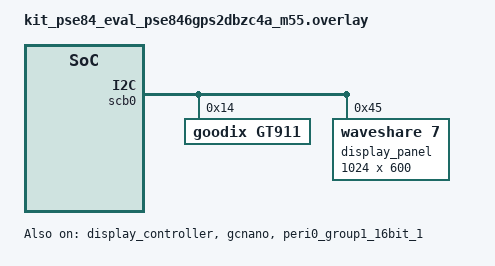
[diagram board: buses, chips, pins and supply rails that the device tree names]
/*
 * Copyright (c) 2026 Infineon Technologies AG,
 * or an affiliate of Infineon Technologies AG.
 *
 * SPDX-License-Identifier: Apache-2.0
 */

#include <zephyr/dt-bindings/display/panel.h>

/ {
	chosen {
		zephyr,touch = &gt911;
		zephyr,display = &display_controller;
	};

	lvgl_pointer {
		compatible = "zephyr,lvgl-pointer-input";
		input = <&gt911>;
	};

	lvgl_vglite {
		compatible = "zephyr,lvgl-gpu-vglite";
		gpu = <&gcnano>;
		variant = "gcnanoultrav";
		revision = "0x1003";
	};
};

&display_controller {
	status = "okay";

	width = <1024>;
	height = <600>;

	pixel-clock-khz = <41743>;
	hsync-width = <100>;
	hfp = <125>;
	hbp = <20>;
	vsync-width = <5>;
	vfp = <20>;
	vbp = <20>;

	data-lanes = <2>;
	per-lane-mbps = <500>;

	input-pixel-format = <PANEL_PIXEL_FORMAT_RGB_565>;
	panel = <&display_panel>;
};

&gcnano {
	status = "okay";
};

i2c0: &scb0 {
	compatible = "infineon,i2c";
	#address-cells = <1>;
	#size-cells = <0>;
	status = "okay";

	clocks = <&peri0_group1_16bit_1>;

	pinctrl-0 = <&p8_0_scb0_i2c_scl &p8_1_scb0_i2c_sda>;
	pinctrl-names = "default";

	gt911: gt911@14 {
		compatible = "goodix,gt911";
		reg = <0x14>;
	};

	display_panel: waveshare_panel@45 {
		compatible = "waveshare,7";
		reg = <0x45>;
		pixel-format = <PANEL_PIXEL_FORMAT_RGB_888>;
		status = "okay";
		height = <600>;
		width = <1024>;
	};
};

&peri0_group1_16bit_1 {
	status = "okay";
	clock-div = <62>;
};

&p8_0_scb0_i2c_scl {
	drive-open-drain;
	input-enable;
};

&p8_1_scb0_i2c_sda {
	drive-open-drain;
	input-enable;
};

&clk_hf12 {
	status = "okay";
	clock-div = <IFX_CLK_HF_DIVIDE_BY_2>;
	source-path = <IFX_CLK_HF_IN_CLKPATH3>;
};
